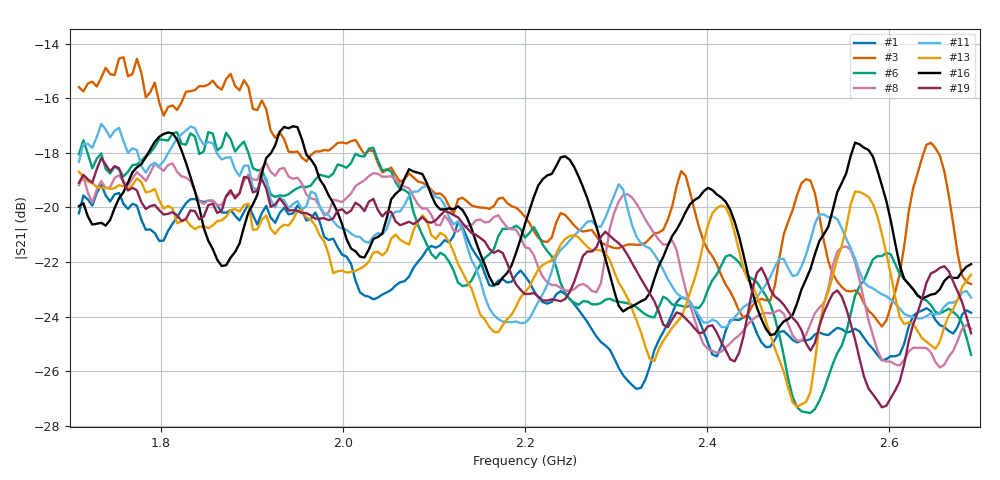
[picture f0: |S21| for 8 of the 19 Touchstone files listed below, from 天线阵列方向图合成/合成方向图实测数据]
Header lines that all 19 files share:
!Agilent Technologies,E5061B,MY49305579,A.02.22
!Data & Calibration Information:
!Freq	S11:SOLT2(ON)	S21:SOLT2(ON)	S12:SOLT2(ON)	S22:SOLT2(ON)
# Hz S dB R 50
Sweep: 1.71 GHz to 2.69 GHz
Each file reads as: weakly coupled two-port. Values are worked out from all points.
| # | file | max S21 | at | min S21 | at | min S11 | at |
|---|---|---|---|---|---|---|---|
| 1 | 2-1.S2P | -19.17 dB | 1.734 GHz | -26.6 dB | 2.322 GHz | -36.6 dB | 2.224 GHz |
| 2 | 2-3.S2P | -16.03 dB | 1.754 GHz | -25.4 dB | 2.597 GHz | -44.4 dB | 1.784 GHz |
| 3 | 2-5.S2P | -14.50 dB | 1.759 GHz | -24.4 dB | 2.592 GHz | -58.2 dB | 1.754 GHz |
| 4 | 2-7.S2P | -14.54 dB | 1.715 GHz | -26.7 dB | 2.616 GHz | -47.5 dB | 1.931 GHz |
| 5 | 2-8.S2P | -19.51 dB | 1.774 GHz | -29.7 dB | 2.504 GHz | -54.4 dB | 1.926 GHz |
| 6 | 2-9.S2P | -17.24 dB | 1.852 GHz | -27.5 dB | 2.514 GHz | -39.5 dB | 1.793 GHz |
| 7 | 2-10.S2P | -21.20 dB | 2.68 GHz | -27.7 dB | 2.499 GHz | -44.8 dB | 1.926 GHz |
| 8 | 2-11.S2P | -18.37 dB | 1.916 GHz | -25.9 dB | 2.656 GHz | -39.7 dB | 1.793 GHz |
| 9 | 7-1.S2P | -19.75 dB | 1.754 GHz | -26.2 dB | 2.489 GHz | -45.1 dB | 2.567 GHz |
| 10 | 7-2.S2P | -18.66 dB | 1.749 GHz | -26.5 dB | 2.048 GHz | -49.3 dB | 1.896 GHz |
| 11 | 7-3.S2P | -16.94 dB | 1.734 GHz | -24.4 dB | 2.421 GHz | -41.1 dB | 2.264 GHz |
| 12 | 7-7.S2P | -14.28 dB | 1.715 GHz | -26.3 dB | 2.621 GHz | -50.5 dB | 1.994 GHz |
| 13 | 7-8.S2P | -18.69 dB | 1.71 GHz | -27.3 dB | 2.499 GHz | -46.2 dB | 1.98 GHz |
| 14 | 7-9.S2P | -16.91 dB | 1.798 GHz | -26.9 dB | 2.69 GHz | -63.9 dB | 2.43 GHz |
| 15 | 12-3.S2P | -17.49 dB | 1.754 GHz | -24.4 dB | 2.489 GHz | -47.3 dB | 2.411 GHz |
| 16 | 12-4.S2P | -17.02 dB | 1.945 GHz | -24.7 dB | 2.47 GHz | -43.4 dB | 1.803 GHz |
| 17 | 12-5.S2P | -16.03 dB | 1.71 GHz | -23.2 dB | 2.558 GHz | -53.3 dB | 1.828 GHz |
| 18 | 12-8.S2P | -17.23 dB | 1.774 GHz | -25.3 dB | 2.342 GHz | -54.4 dB | 1.989 GHz |
| 19 | 12-11.S2P | -18.19 dB | 1.734 GHz | -27.3 dB | 2.592 GHz | -46.3 dB | 1.926 GHz |
